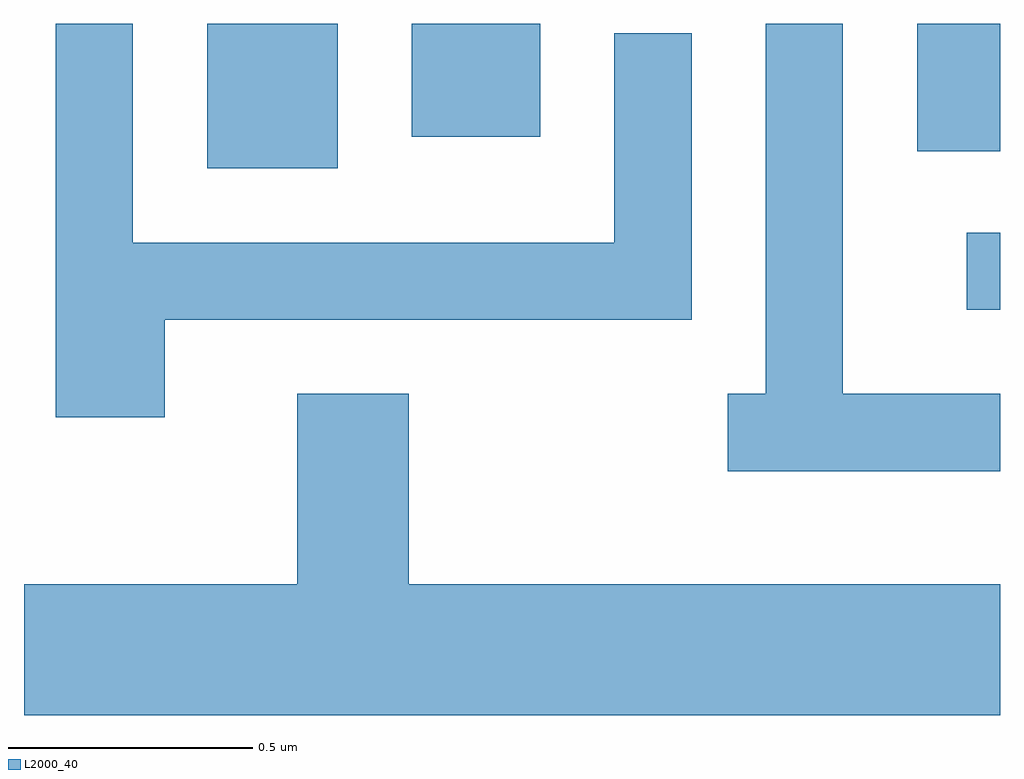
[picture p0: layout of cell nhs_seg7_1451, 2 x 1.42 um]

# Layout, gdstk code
import gdstk
lib = gdstk.Library(unit=1e-6, precision=1e-09)
def R(c, l, rs):  # rectangles x0, y0, x1, y1
    for r in rs: c.add(gdstk.rectangle(r[:2], r[2:], *l))
def P(c, l, *ps):  # polygons
    for p in ps: c.add(gdstk.Polygon(p, *l))
L2000_40 = (2000, 40)

nhs_seg7_1451 = lib.new_cell('nhs_seg7_1451')
R(nhs_seg7_1451, L2000_40, [(197.543,1750.666,197.611,1750.824), (195.986,1750.956,196.254,1751.252), (197.441,1750.991,197.611,1751.252), (196.406,1751.021,196.669,1751.252)])
P(nhs_seg7_1451, L2000_40, [(195.899,1750.646),(196.979,1750.646),(196.979,1751.233),(196.821,1751.233),(196.821,1750.804),(195.834,1750.804),(195.834,1751.252),(195.676,1751.252),(195.676,1750.446),(195.899,1750.446)],
  [(197.611,1750.494),(197.289,1750.494),(197.289,1751.252),(197.131,1751.252),(197.131,1750.494),(197.053,1750.494),(197.053,1750.336),(197.611,1750.336)],
  [(197.611,1750.104),(196.399,1750.104),(196.399,1750.494),(196.171,1750.494),(196.171,1750.104),(195.611,1750.104),(195.611,1749.836),(197.611,1749.836)])

lib.write_gds('nhs_seg7_1451.gds')
